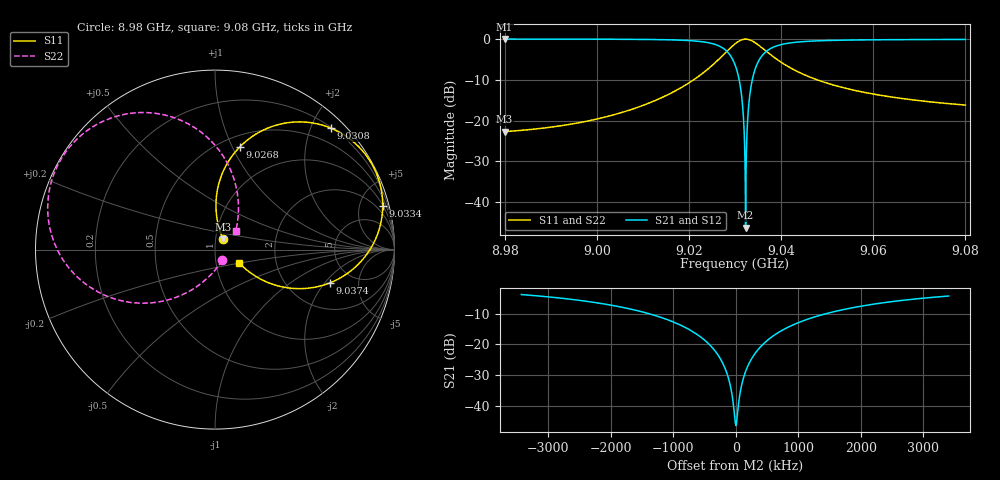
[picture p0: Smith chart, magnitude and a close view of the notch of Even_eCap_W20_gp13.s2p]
! Sonnet Data File
! From: emgraph Version : 16.52
! From Project: Resonator2_extremeCap
! Data is De-embedded
! Data File Written: 10/10/2017 20:29:21
!< HDATE 10/09/2017 23:04:37
!< MDATE 10/09/2017 23:04:37
!< PARAMS
!< Pwid1 = 2000.0
!< Pwid2 = 2000.0
!< Air_gap = 12.0
!< Width = 20.0
!< Gap = 13.0
!< END PARAMS
# GHZ S MA R 51.80000
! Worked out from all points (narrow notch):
!   1595 points, 8.98 GHz to 9.08 GHz, reference 51.8 ohm
!   highest |S21| = -0.02 dB at 8.98 GHz (marker M1); lowest = -46.3 dB at 9.0323 GHz (marker M2)
!   notch at M2: 45.6 dB deep, 576 kHz wide at half that depth
!   lowest |S11| = -22.7 dB at 8.98 GHz (marker M3), VSWR 1.16, Z = 56.4 + j6.47 ohm
!   |S11| at or under -10 dB: start of sweep to 9.021031 GHz; 9.047791 GHz to end of sweep
!   |S22| runs from -22.7 to 0.0 dB; largest |S21 - S12| = 0
!   S11 on the Smith chart (normalised r, x): 8.98 GHz: 1.09, +0.12; 9.0268 GHz: 0.61, +1.07; 9.0308 GHz: 0.21, +2.32; 9.0334 GHz: 1.09, +7.72; 9.0374 GHz: 3.38, -2.25; 9.08 GHz: 1.30, -0.20
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8.98  0.07311 51.3  0.9973 -92.3  0.9973 -92.3  0.07305 -56.0
!< P1 F=8.98 Eeff=(6.44620984 -2.9718e-5) Z0=(50.9069029 1.17456e-4) R=0.0 C=0.0
!< P2 F=8.98 Eeff=(6.44620984 -2.9718e-5) Z0=(50.9069029 1.17456e-4) R=0.0 C=0.0
8.9967  0.09539 70.0  0.9954 -94.7  0.9954 -94.7  0.09529 -79.4
9.0134  0.1835 87.0  0.9828 -100.8  0.9828 -100.8  0.1833 -108.7
9.0217  0.336 87.6  0.9412 -110.3  0.9412 -110.3  0.3357 -128.5
9.0268  0.5865 76.5  0.8077 -126.8  0.8077 -126.8  0.5861 -150.7
9.03  0.8711 54.6  0.4836 -151.6  0.4836 -151.6  0.8705 -178.9
9.030776  0.9356 46.3  0.3412 -160.4  0.3412 -160.4  0.9349 171.3
9.031495  0.9779 37.8  0.1868 -168.9  0.1868 -168.9  0.9772 161.5
9.031899  0.991 32.8  0.09399 -172.8  0.09399 -172.8  0.9904 155.7
9.03214  0.9947 29.8  0.0378 -171.6  0.0378 -171.6  0.9941 152.2
9.0322  0.9952 29.0  0.02403 -168.1  0.02403 -168.1  0.9945 151.4
9.0323  0.9954 27.7  0.004868 -92.7  0.004868 -92.7  0.9948 149.9
9.032425  0.995 26.2  0.02953 -12.3  0.02953 -12.3  0.9944 148.1
9.032604  0.993 24.0  0.07067 -9.1  0.07067 -9.1  0.9924 145.6
9.0329  0.986 20.3  0.1379 -11.1  0.1379 -11.1  0.9854 141.4
9.033397  0.9652 14.5  0.2452 -16.5  0.2452 -16.5  0.9646 134.7
9.034804  0.8659 0.3  0.4937 -31.3  0.4937 -31.3  0.8654 118.0
9.037371  0.6653 -16.2  0.7442 -49.7  0.7442 -49.7  0.6649 97.3
9.0412  0.4709 -27.1  0.8812 -63.4  0.8812 -63.4  0.4707 80.5
9.0469  0.3301 -32.3  0.9436 -72.4  0.9436 -72.4  0.33 67.6
9.0634  0.1966 -32.2  0.9804 -80.8  0.9804 -80.8  0.1965 50.5
9.08  0.1548 -29.1  0.9879 -83.7  0.9879 -83.7  0.1548 41.7
